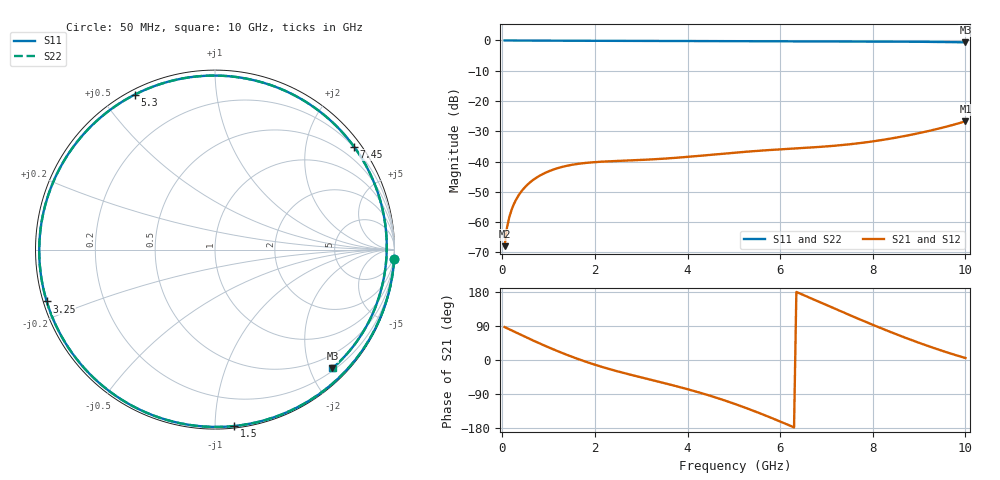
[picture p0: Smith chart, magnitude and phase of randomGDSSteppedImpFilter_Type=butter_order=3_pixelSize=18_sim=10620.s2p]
! freq	dB(S11)	phase(S11)	dB(S12)	phase(S12)
!  dB(S21)	phase(S21)	dB(S22)	phase(S22)
!S-par simulation data
#  GHz  S  DB  R 50
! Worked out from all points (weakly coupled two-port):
!   200 points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, 50 MHz to 10 GHz, reference 50 ohm
!   highest |S21| = -26.69 dB at 10 GHz (marker M1); lowest = -68.0 dB at 50 MHz (marker M2)
!   lowest |S11| = -0.6 dB at 10 GHz (marker M3), VSWR 27.61, Z = 12.1 - j119 ohm
!   |S11| at or under -10 dB: nowhere
!   |S22| runs from -0.6 to 0.0 dB; largest |S21 - S12| = 0
!   S11 on the Smith chart (normalised r, x): 50 MHz: 0, -38; 1.5 GHz: 0.01, -1.11; 3.25 GHz: 0.01, -0.15; 5.3 GHz: 0.02, +0.61; 7.45 GHz: 0.19, +3.03; 10 GHz: 0.24, -2.38
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0.05  -0.00 -3.0  -67.95 86.8  -67.95 86.8  -0.00 -3.0
0.1  -0.01 -5.9  -61.93 83.9  -61.93 83.9  -0.01 -5.9
0.2  -0.02 -11.8  -55.96 78.1  -55.96 78.1  -0.02 -11.8
0.45  -0.04 -26.4  -49.15 63.6  -49.15 63.6  -0.04 -26.4
0.7  -0.05 -40.7  -45.70 49.5  -45.70 49.5  -0.05 -40.7
1  -0.07 -57.4  -43.24 33.4  -43.24 33.4  -0.07 -57.4
1.5  -0.10 -83.9  -41.09 8.8  -41.09 8.8  -0.10 -83.8
1.75  -0.11 -96.4  -40.54 -2.3  -40.54 -2.3  -0.11 -96.3
2.15  -0.13 -115.4  -40.05 -18.1  -40.05 -18.1  -0.13 -115.4
2.55  -0.14 -133.4  -39.76 -31.9  -39.76 -31.9  -0.14 -133.4
3.25  -0.17 -162.9  -39.27 -53.5  -39.27 -53.5  -0.17 -162.9
3.4  -0.17 -169.0  -39.14 -58.0  -39.14 -58.0  -0.17 -168.9
3.8  -0.19 175.1  -38.71 -70.5  -38.71 -70.5  -0.19 175.2
4.2  -0.20 159.5  -38.19 -83.9  -38.19 -83.9  -0.20 159.6
5.05  -0.23 126.9  -37.03 -117.2  -37.03 -117.2  -0.23 126.9
5.3  -0.24 117.3  -36.72 -128.3  -36.72 -128.3  -0.24 117.3
6  -0.27 90.6  -35.98 -162.3  -35.98 -162.3  -0.27 90.6
6.7  -0.29 64.1  -35.33 161.1  -35.33 161.1  -0.29 64.1
7.45  -0.32 36.5  -34.38 121.2  -34.38 121.2  -0.32 36.5
8.35  -0.37 5.2  -32.51 75.5  -32.51 75.5  -0.37 5.2
9.1  -0.45 -18.9  -30.27 40.9  -30.27 40.9  -0.45 -18.9
10  -0.63 -45.3  -26.69 5.3  -26.69 5.3  -0.63 -45.2
